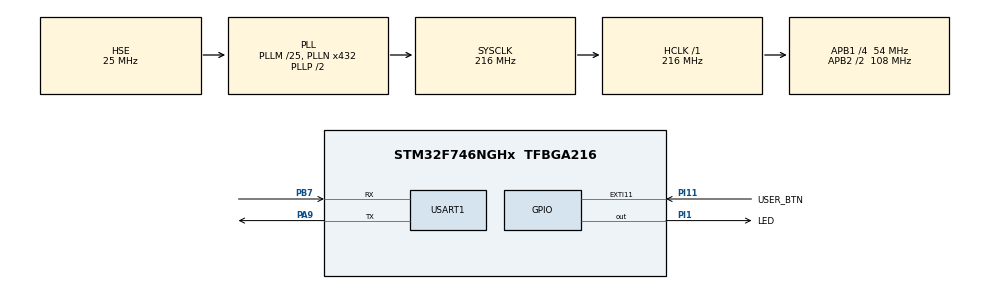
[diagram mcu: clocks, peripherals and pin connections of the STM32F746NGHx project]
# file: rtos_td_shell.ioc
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FREERTOS.Tasks01=defaultTask,0,128,StartDefaultTask,Default,NULL,Dynamic,NULL,NULL
FREERTOS.configLIBRARY_MAX_SYSCALL_INTERRUPT_PRIORITY=7
FREERTOS.configMAX_PRIORITIES=8
Mcu.Family=STM32F7
Mcu.Name=STM32F746NGHx
Mcu.Package=TFBGA216
NVIC.PriorityGroup=NVIC_PRIORITYGROUP_4
NVIC.TIM6_DAC_IRQn=true\:15\:0\:false\:false\:true\:false\:false\:true\:true
NVIC.TimeBase=TIM6_DAC_IRQn
NVIC.TimeBaseIP=TIM6
NVIC.USART1_IRQn=true\:7\:0\:false\:false\:true\:true\:true\:true\:true
PA13.Mode=Serial_Wire
PA13.Signal=SYS_JTMS-SWDIO
PA14.Mode=Serial_Wire
PA14.Signal=SYS_JTCK-SWCLK
PA9.Mode=Asynchronous
PA9.Signal=USART1_TX
PB7.Mode=Asynchronous
PB7.Signal=USART1_RX
PH0/OSC_IN.Mode=HSE-External-Oscillator
PH0/OSC_IN.Signal=RCC_OSC_IN
PH1/OSC_OUT.Mode=HSE-External-Oscillator
PH1/OSC_OUT.Signal=RCC_OSC_OUT
PI1.GPIO_Label=LED
PI1.Signal=GPIO_Output
PI11.GPIO_Label=USER_BTN
PI11.Signal=GPXTI11
ProjectManager.HeapSize=0x200
ProjectManager.StackSize=0x400
ProjectManager.TargetToolchain=STM32CubeIDE
RCC.AHBFreq_Value=216000000
RCC.APB1CLKDivider=RCC_HCLK_DIV4
RCC.APB1Freq_Value=54000000
RCC.APB1TimFreq_Value=108000000
RCC.APB2CLKDivider=RCC_HCLK_DIV2
RCC.APB2Freq_Value=108000000
RCC.APB2TimFreq_Value=216000000
RCC.CortexFreq_Value=216000000
RCC.HCLKFreq_Value=216000000
RCC.HSE_VALUE=25000000
RCC.HSI_VALUE=16000000
RCC.LSE_VALUE=32768
RCC.PLLM=25
RCC.PLLN=432
RCC.PLLSourceVirtual=RCC_PLLSOURCE_HSE
RCC.SYSCLKFreq_VALUE=216000000
RCC.SYSCLKSource=RCC_SYSCLKSOURCE_PLLCLK
RCC.USBFreq_Value=216000000
RCC.VCOOutputFreq_Value=432000000
USART1.VirtualMode-Asynchronous=VM_ASYNC
VP_FREERTOS_VS_CMSIS_V1.Mode=CMSIS_V1
VP_SYS_VS_tim6.Mode=TIM6
board=STM32F746G-DISCO

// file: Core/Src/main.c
/* USER CODE BEGIN Header */
/**
 ******************************************************************************
 * @file           : main.c
 * @brief          : Main program body
 ******************************************************************************
 * @attention
 *
 * Copyright (c) 2022 STMicroelectronics.
 * All rights reserved.
 *
 * This software is licensed under terms that can be found in the LICENSE file
 * in the root directory of this software component.
 * If no LICENSE file comes with this software, it is provided AS-IS.
 *
 ******************************************************************************
 */
/* USER CODE END Header */
#include "main.h"
#include "cmsis_os.h"
#include "usart.h"
#include "gpio.h"

/* USER CODE BEGIN Includes */
#include <stdio.h>
#include <stdlib.h>
#include "shell.h"
#include "drv_uart1.h"

#include "fonctions_shell.h"
/* USER CODE END Includes */

/* USER CODE BEGIN PM */
BaseType_t xReturned;
SemaphoreHandle_t semaphori;

TaskHandle_t xHandleLED, xHandleSHELL = NULL;

/* USER CODE END PM */

/* USER CODE BEGIN PV */
h_shell_t h_shell;

int LED_DELAY = 500;
/* USER CODE END PV */

void SystemClock_Config(void);
void MX_FREERTOS_Init(void);

/* USER CODE BEGIN 0 */
int __io_putchar(int ch)
{
	HAL_UART_Transmit(&huart1, (uint8_t*)&ch, 1, HAL_MAX_DELAY);

	return ch;
}

/* USER CODE END 0 */

int main(void)
{

  /* MCU Configuration--------------------------------------------------------*/

  /* Reset of all peripherals, Initializes the Flash interface and the Systick. */
  HAL_Init();

  /* Configure the system clock */
  SystemClock_Config();

  /* Initialize all configured peripherals */
  MX_GPIO_Init();
  MX_USART1_UART_Init();
  /* USER CODE BEGIN 2 */
  printf("Init\r\n");
  semaphori = xSemaphoreCreateBinary();

  xReturned = xTaskCreate(
    		led, /* Function that implements the task. */
    		"LED", /* Text name for the task. */
    		STACK_SIZE, /* Stack size in words, not bytes. */
    		(void *) LED_DELAY, /* Parameter passed into the task. */
    		LED_PRIORITY,/* Priority at which the task is created. */
    		&xHandleLED ); /* Used to pass out the created task's handle. */

  /*if (xReturned == errCOULD_NOT_ALLOCATE_REQUIRED_MEMORY)
      {
	  	  printf("Error LED Task Create\r\n");
      }*/
  if(xReturned == pdTRUE)
  {
	  printf("Led task created \r\n");
  }
  else
  {
	  printf("Error Led task not created \r\n");
  }

  xReturned = xTaskCreate(
      		shell_run, /* Function that implements the task. */
      		"SHELL", /* Text name for the task. */
      		STACK_SIZE, /* Stack size in words, not bytes. */
      		(void *) &h_shell, /* Parameter passed into the task. */
      		SHELL_PRIORITY,/* Priority at which the task is created. */
      		&xHandleSHELL ); /* Used to pass out the created task's handle. */

  /*if (xReturned == errCOULD_NOT_ALLOCATE_REQUIRED_MEMORY)
        {
  	  	  printf("Error SHELL Task Create\r\n");
        }
  */

  if(xReturned == pdTRUE)
  {
	  printf("Shell task created \r\n");
  }
  else
  {
	  printf("Error Shell task not created \r\n");
  }

  	  h_shell.drv.receive = drv_uart1_receive;
  	  h_shell.drv.transmit = drv_uart1_transmit;

	shell_init(&h_shell);
	shell_add(&h_shell, 'f', fonction, "Une fonction inutile");
	shell_add(&h_shell, 'a', addition, "addition de deux entiers");
	shell_add(&h_shell, 'l', led, "faire clignoter la led a la frequence 1/p");

	vTaskStartScheduler();

	//shell_run(&h_shell); <-- plus besoin car appelée a la creation de la task
  /* USER CODE END 2 */

  /* Call init function for freertos objects (in freertos.c) */
  MX_FREERTOS_Init();

  /* Start scheduler */
  osKernelStart();

  /* We should never get here as control is now taken by the scheduler */
  /* Infinite loop */
	while (1)
	{

	}
}

void SystemClock_Config(void)
{
  RCC_OscInitTypeDef RCC_OscInitStruct = {0};
  RCC_ClkInitTypeDef RCC_ClkInitStruct = {0};

  /** Configure the main internal regulator output voltage
  */
  __HAL_RCC_PWR_CLK_ENABLE();
  __HAL_PWR_VOLTAGESCALING_CONFIG(PWR_REGULATOR_VOLTAGE_SCALE1);

  /** Initializes the RCC Oscillators according to the specified parameters
  * in the RCC_OscInitTypeDef structure.
  */
  RCC_OscInitStruct.OscillatorType = RCC_OSCILLATORTYPE_HSE;
  RCC_OscInitStruct.HSEState = RCC_HSE_ON;
  RCC_OscInitStruct.PLL.PLLState = RCC_PLL_ON;
  RCC_OscInitStruct.PLL.PLLSource = RCC_PLLSOURCE_HSE;
  RCC_OscInitStruct.PLL.PLLM = 25;
  RCC_OscInitStruct.PLL.PLLN = 432;
  RCC_OscInitStruct.PLL.PLLP = RCC_PLLP_DIV2;
  RCC_OscInitStruct.PLL.PLLQ = 2;
  if (HAL_RCC_OscConfig(&RCC_OscInitStruct) != HAL_OK)
  {
    Error_Handler();
  }

  /** Activate the Over-Drive mode
  */
  if (HAL_PWREx_EnableOverDrive() != HAL_OK)
  {
    Error_Handler();
  }

  /** Initializes the CPU, AHB and APB buses clocks
  */
  RCC_ClkInitStruct.ClockType = RCC_CLOCKTYPE_HCLK|RCC_CLOCKTYPE_SYSCLK
                              |RCC_CLOCKTYPE_PCLK1|RCC_CLOCKTYPE_PCLK2;
  RCC_ClkInitStruct.SYSCLKSource = RCC_SYSCLKSOURCE_PLLCLK;
  RCC_ClkInitStruct.AHBCLKDivider = RCC_SYSCLK_DIV1;
  RCC_ClkInitStruct.APB1CLKDivider = RCC_HCLK_DIV4;
  RCC_ClkInitStruct.APB2CLKDivider = RCC_HCLK_DIV2;

  if (HAL_RCC_ClockConfig(&RCC_ClkInitStruct, FLASH_LATENCY_7) != HAL_OK)
  {
    Error_Handler();
  }
}

void HAL_TIM_PeriodElapsedCallback(TIM_HandleTypeDef *htim)
{
  if (htim->Instance == TIM6) {
    HAL_IncTick();
  }
}

void Error_Handler(void)
{
	__disable_irq();
	while (1)
	{
	}
}
